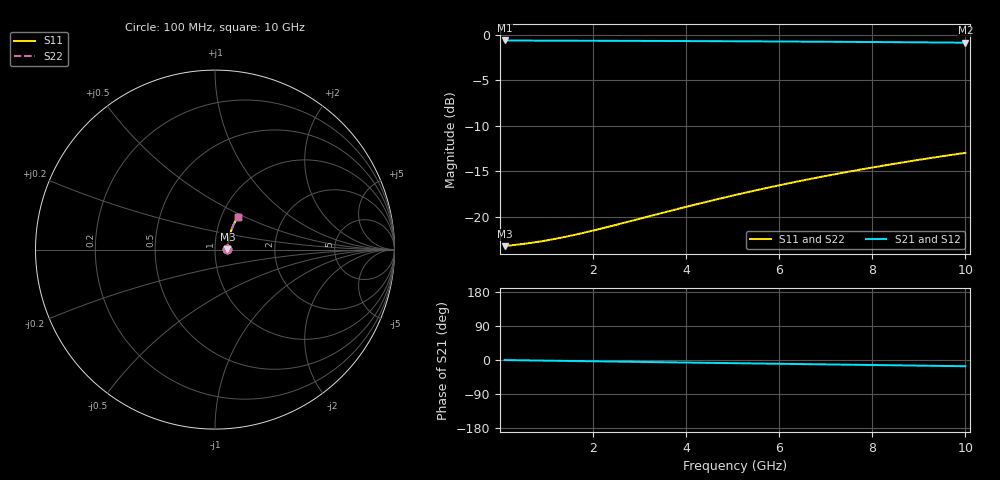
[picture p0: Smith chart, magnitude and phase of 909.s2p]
# Hz S RI R 50.00
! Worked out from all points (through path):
!   100 points, 100 MHz to 10 GHz, reference 50 ohm
!   highest |S21| = -0.62 dB at 100 MHz (marker M1); lowest = -0.9 dB at 10 GHz (marker M2)
!   group delay of S21, straight-line fit = 4.57 ps
!   lowest |S11| = -23.2 dB at 100 MHz (marker M3), VSWR 1.15, Z = 57.4 + j0.23 ohm
!   |S11| at or under -10 dB: start of sweep to end of sweep
!   |S22| runs from -23.2 to -13.0 dB; largest |S21 - S12| = 0
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1e8  0.0688 0.002  0.9312 -0.00272  0.9312 -0.00272  0.0688 0.002
6e8  0.0703 0.0119  0.9297 -0.0163  0.9297 -0.0163  0.0703 0.0119
8e8  0.0708 0.0159  0.9292 -0.0217  0.9292 -0.0217  0.0708 0.0159
1e9  0.0713 0.0199  0.9287 -0.0271  0.9287 -0.0271  0.0713 0.0199
1.2e9  0.0717 0.0238  0.9282 -0.0325  0.9282 -0.0325  0.0717 0.0238
1.4e9  0.0722 0.0278  0.9277 -0.0379  0.9277 -0.0379  0.0722 0.0278
1.8e9  0.0733 0.0356  0.9266 -0.0487  0.9266 -0.0487  0.0733 0.0356
2.1e9  0.0742 0.0415  0.9257 -0.0568  0.9257 -0.0568  0.0742 0.0415
2.4e9  0.0752 0.0474  0.9247 -0.0648  0.9247 -0.0648  0.0752 0.0474
3.4e9  0.079 0.0668  0.9207 -0.0914  0.9207 -0.0914  0.079 0.0668
4.3e9  0.0833 0.0839  0.9162 -0.1151  0.9162 -0.1151  0.0833 0.0839
4.7e9  0.0855 0.0915  0.9139 -0.1256  0.9139 -0.1256  0.0855 0.0915
5.1e9  0.0878 0.099  0.9114 -0.136  0.9114 -0.136  0.0878 0.099
5.5e9  0.0903 0.1064  0.9088 -0.1463  0.9088 -0.1463  0.0903 0.1064
5.9e9  0.093 0.1137  0.906 -0.1565  0.906 -0.1565  0.093 0.1137
6.3e9  0.0958 0.1209  0.9031 -0.1667  0.9031 -0.1667  0.0958 0.1209
6.7e9  0.0988 0.1281  0.9 -0.1767  0.9 -0.1767  0.0988 0.1281
7.5e9  0.1052 0.1422  0.8932 -0.1966  0.8932 -0.1966  0.1052 0.1422
7.9e9  0.1086 0.1491  0.8897 -0.2064  0.8897 -0.2064  0.1086 0.1491
8.4e9  0.1131 0.1575  0.885 -0.2186  0.885 -0.2186  0.1131 0.1575
9.2e9  0.1207 0.1708  0.8769 -0.2376  0.8769 -0.2376  0.1207 0.1708
1e10  0.1288 0.1835  0.8684 -0.2562  0.8684 -0.2562  0.1288 0.1835
